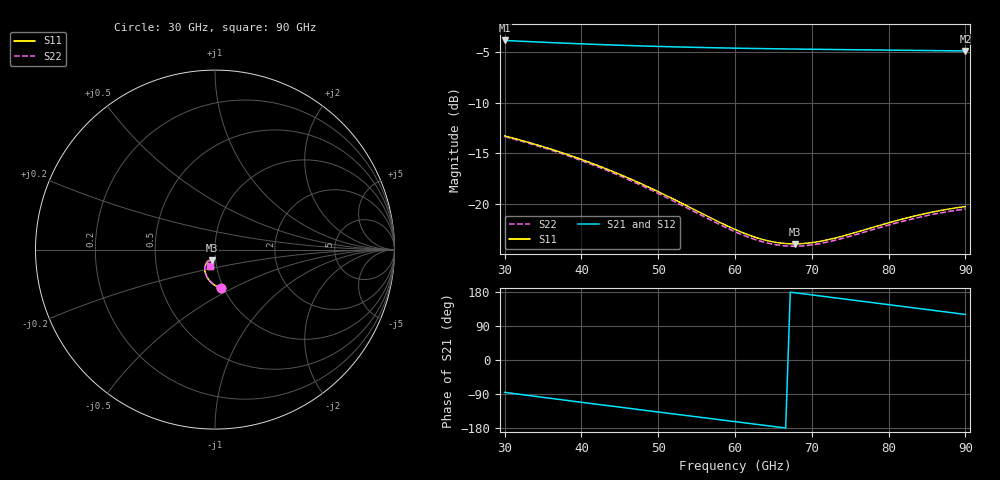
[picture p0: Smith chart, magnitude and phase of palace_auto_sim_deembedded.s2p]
! Created with skrf 1.11.0 (http://scikit-rf.org).
# GHz S DB R 50.0
!freq dBS11 angS11 dBS21 angS21 dBS12 angS12 dBS22 angS22
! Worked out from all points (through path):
!   101 points, 30 GHz to 90 GHz, reference 50 ohm
!   highest |S21| = -3.82 dB at 30 GHz (marker M1); lowest = -4.9 dB at 90 GHz (marker M2)
!   group delay of S21, straight-line fit = 7.12 ps
!   lowest |S11| = -23.9 dB at 67.8 GHz (marker M3), VSWR 1.14, Z = 47.8 - j5.83 ohm
!   |S11| at or under -10 dB: start of sweep to end of sweep
!   |S22| runs from -24.2 to -13.3 dB; largest |S21 - S12| = 6.6e-14
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30  -13.27 -81.6  -3.82 -85.3  -3.82 -85.3  -13.34 -81.7
32.4  -13.75 -87.3  -3.90 -91.7  -3.90 -91.7  -13.83 -87.5
34.8  -14.28 -92.9  -3.98 -98.0  -3.98 -98.0  -14.37 -93.0
37.2  -14.86 -98.1  -4.06 -104.3  -4.06 -104.3  -14.96 -98.3
40.2  -15.65 -104.3  -4.16 -112.1  -4.16 -112.1  -15.76 -104.5
45  -17.07 -112.8  -4.29 -124.4  -4.29 -124.4  -17.22 -113.1
48  -18.07 -117.1  -4.36 -132.1  -4.36 -132.1  -18.23 -117.4
50.4  -18.93 -119.8  -4.42 -138.2  -4.42 -138.2  -19.10 -120.1
55.2  -20.75 -122.4  -4.50 -150.4  -4.50 -150.4  -20.95 -122.8
57.6  -21.66 -122.0  -4.54 -156.5  -4.54 -156.5  -21.88 -122.4
60  -22.52 -120.2  -4.58 -162.6  -4.58 -162.6  -22.74 -120.6
62.4  -23.23 -117.1  -4.61 -168.8  -4.61 -168.8  -23.47 -117.5
64.2  -23.63 -114.0  -4.63 -173.4  -4.63 -173.4  -23.86 -114.4
66  -23.87 -110.5  -4.65 -178.0  -4.65 -178.0  -24.11 -110.9
67.8  -23.95 -106.9  -4.67 177.4  -4.67 177.4  -24.18 -107.3
70.2  -23.81 -102.6  -4.69 171.3  -4.69 171.3  -24.03 -103.1
72.6  -23.46 -99.3  -4.71 165.1  -4.71 165.1  -23.68 -99.9
75  -22.97 -97.3  -4.73 159.0  -4.73 159.0  -23.19 -98.0
77.4  -22.44 -96.5  -4.75 152.8  -4.75 152.8  -22.66 -97.3
80.4  -21.78 -97.1  -4.78 145.0  -4.78 145.0  -22.01 -98.1
85.2  -20.88 -100.6  -4.82 132.6  -4.82 132.6  -21.12 -101.9
90  -20.25 -106.2  -4.86 120.2  -4.86 120.2  -20.50 -107.6
